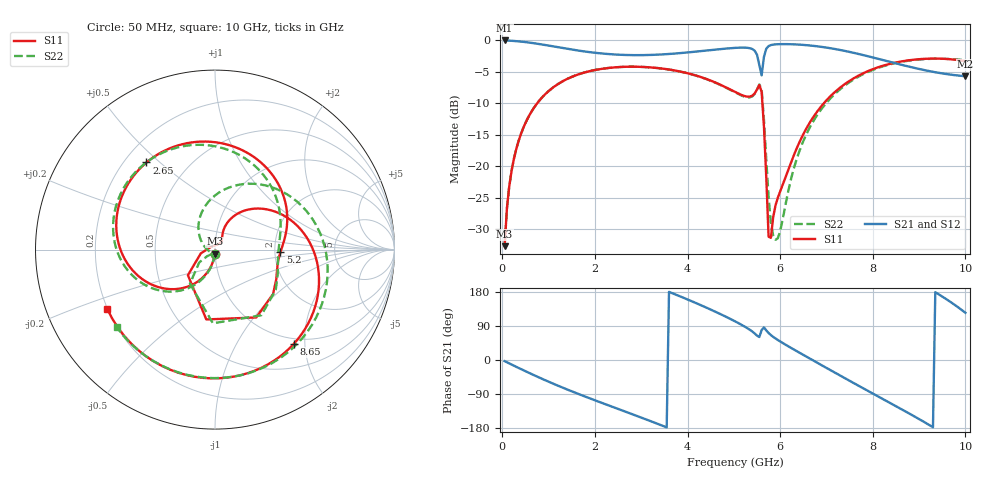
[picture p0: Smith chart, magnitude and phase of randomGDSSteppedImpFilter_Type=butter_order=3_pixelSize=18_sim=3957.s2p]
! freq	dB(S11)	phase(S11)	dB(S12)	phase(S12)
!  dB(S21)	phase(S21)	dB(S22)	phase(S22)
!S-par simulation data
#  GHz  S  DB  R 50
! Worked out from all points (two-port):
!   200 points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, 50 MHz to 10 GHz, reference 50 ohm
!   highest |S21| = -0.01 dB at 50 MHz (marker M1); lowest = -5.7 dB at 10 GHz (marker M2)
!   |S21| within 3 dB of the highest: start of sweep to 5.522 GHz; 5.643 GHz to 8.161 GHz (2.518 GHz wide, 36.5 % of centre)
!   lowest |S11| = -32.6 dB at 50 MHz (marker M3), VSWR 1.05, Z = 49.8 - j2.32 ohm
!   |S11| at or under -10 dB: start of sweep to 750.7 MHz; 5.617 GHz to 6.939 GHz (1.322 GHz wide, 21.1 % of centre)
!   |S22| runs from -32.6 to -2.9 dB; largest |S21 - S12| = 0
!   S11 on the Smith chart (normalised r, x): 50 MHz: 1.00, -0.05; 2.65 GHz: 0.29, +0.45; 5.2 GHz: 2.15, -0.07; 8.65 GHz: 0.90, -1.78; 10 GHz: 0.20, -0.25
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0.05  -32.65 -93.2  -0.01 -3.0  -0.01 -3.0  -32.65 -93.0
0.2  -20.70 -102.8  -0.06 -12.0  -0.06 -12.0  -20.70 -102.0
0.5  -13.10 -121.1  -0.26 -29.6  -0.26 -29.6  -13.10 -119.1
1.1  -7.44 -155.3  -0.95 -62.5  -0.95 -62.5  -7.44 -150.9
1.75  -5.14 171.2  -1.73 -94.6  -1.73 -94.6  -5.14 178.3
2.65  -4.19 128.2  -2.31 -135.9  -2.31 -135.9  -4.19 139.0
3.4  -4.42 92.4  -2.24 -170.6  -2.24 -170.6  -4.42 105.9
4.25  -5.72 49.7  -1.73 146.7  -1.73 146.7  -5.74 64.6
5.05  -8.26 6.7  -1.17 100.6  -1.17 100.6  -8.33 17.6
5.2  -8.75 -2.2  -1.14 90.6  -1.14 90.6  -8.85 6.5
5.5  -7.80 -37.4  -2.26 64.4  -2.26 64.4  -7.83 -33.6
5.6  -8.13 -97.1  -5.54 78.8  -5.54 78.8  -7.73 -91.6
5.75  -31.15 148.5  -0.90 71.3  -0.90 71.3  -24.75 -140.0
5.8  -31.33 75.4  -0.74 65.8  -0.74 65.8  -28.98 -130.1
5.95  -24.95 51.0  -0.60 52.7  -0.60 52.7  -31.39 -139.5
6.3  -18.14 66.6  -0.62 27.4  -0.62 27.4  -20.20 145.1
6.7  -12.34 57.2  -0.84 -0.3  -0.84 -0.3  -13.02 108.8
7.55  -6.18 13.2  -1.91 -58.3  -1.91 -58.3  -6.37 44.9
8.35  -3.75 -32.5  -3.36 -111.8  -3.36 -111.8  -3.84 -12.7
8.65  -3.29 -50.1  -3.92 -131.9  -3.92 -131.9  -3.36 -34.2
9.35  -2.88 -95.2  -5.05 179.0  -5.05 179.0  -2.90 -86.4
10  -3.28 -151.2  -5.69 124.7  -5.69 124.7  -3.13 -141.8
